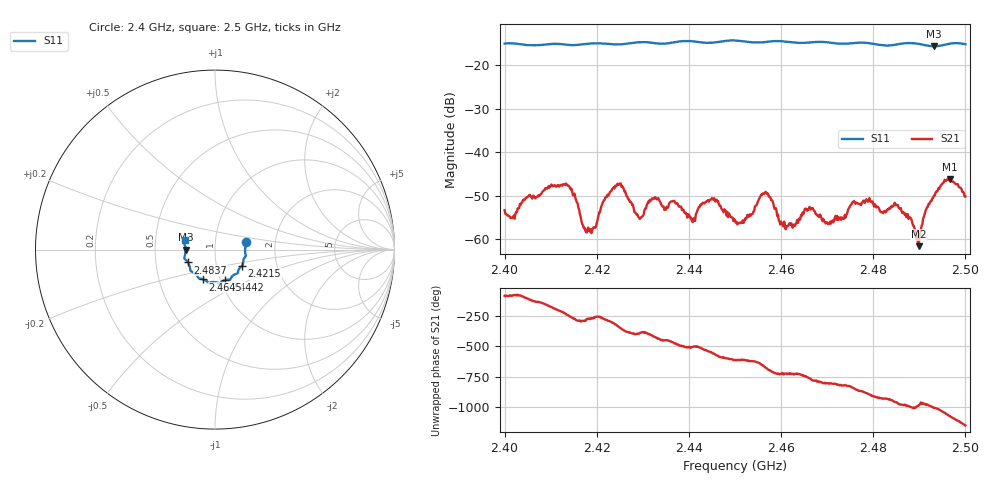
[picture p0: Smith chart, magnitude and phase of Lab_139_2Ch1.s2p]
# Hz S RI R 50
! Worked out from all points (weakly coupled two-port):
!   601 points, 2.4 GHz to 2.5 GHz, reference 50 ohm
!   highest |S21| = -46.17 dB at 2.4967 GHz (marker M1); lowest = -61.6 dB at 2.4898 GHz (marker M2)
!   lowest |S11| = -15.7 dB at 2.4932 GHz (marker M3), VSWR 1.39, Z = 36 - j0.0487 ohm
!   |S11| at or under -10 dB: start of sweep to end of sweep
!   S12 and S22 are empty: the file has one direction only
!   S11 on the Smith chart (normalised r, x): 2.4 GHz: 1.41, +0.12; 2.4215 GHz: 1.33, -0.25; 2.4442 GHz: 1.05, -0.37; 2.4645 GHz: 0.83, -0.29; 2.4837 GHz: 0.73, -0.11; 2.5 GHz: 0.71, +0.07
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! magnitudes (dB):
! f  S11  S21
! 2.4 GHz  -15.1  -53.3
! 2.4132 GHz  -15.3  -47.6
! 2.4167 GHz  -15.3  -55.8
! 2.4193 GHz  -15.1  -57.2
! 2.4215 GHz  -15.1  -51.2
! 2.425 GHz  -15.3  -47.3
! 2.4295 GHz  -14.8  -55.2
! 2.4333 GHz  -15.1  -50.5
! 2.4408 GHz  -14.6  -56.0
! 2.4442 GHz  -15.0  -51.0
! 2.45 GHz  -14.4  -55.8
! 2.4565 GHz  -14.8  -49.3
! 2.4607 GHz  -14.6  -55.9
! 2.4645 GHz  -15.0  -54.6
! 2.4667 GHz  -14.8  -52.8
! 2.47 GHz  -14.8  -56.1
! 2.4833 GHz  -15.6  -53.2
! 2.4837 GHz  -15.5  -53.0
! 2.4898 GHz  -15.2  -61.6
! 2.4932 GHz  -15.7  -50.0
! 2.4967 GHz  -15.1  -46.2
! 2.5 GHz  -15.2  -50.2
